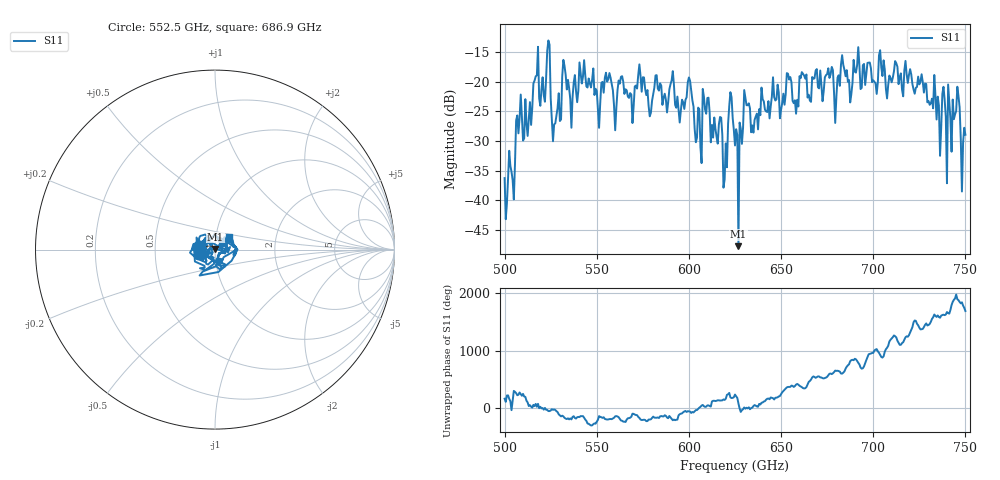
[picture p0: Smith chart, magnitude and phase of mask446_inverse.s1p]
!Created with skrf (http://scikit-rf.org).
# GHz S MA R 50.0
!freq magS11 angS11
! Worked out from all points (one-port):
!   401 points, 500 GHz to 750 GHz, reference 50 ohm
!   lowest |S11| = -47.7 dB at 626.9 GHz (marker M1), VSWR 1.01, Z = 50.1 + j0.402 ohm
!   |S11| at or under -10 dB: start of sweep to end of sweep
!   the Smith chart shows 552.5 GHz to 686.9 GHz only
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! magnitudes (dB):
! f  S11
! 500 GHz  -36.3
! 504.4 GHz  -36.6
! 507.5 GHz  -28.7
! 513.8 GHz  -23.4
! 516.9 GHz  -19.1
! 520.6 GHz  -19.2
! 523.8 GHz  -13.0
! 526.9 GHz  -27.2
! 531.2 GHz  -19.1
! 562.5 GHz  -20.3
! 579.4 GHz  -25.2
! 590.6 GHz  -19.8
! 593.8 GHz  -22.5
! 600.6 GHz  -19.8
! 605.6 GHz  -24.6
! 608.8 GHz  -24.7
! 619.4 GHz  -36.5
! 622.5 GHz  -21.7
! 625 GHz  -30.7
! 626.9 GHz  -47.7
! 631.2 GHz  -24.0
! 635 GHz  -28.6
! 656.2 GHz  -23.2
! 687.5 GHz  -23.5
! 690.6 GHz  -18.4
! 718.8 GHz  -20.2
! 745.6 GHz  -20.8
! 750 GHz  -28.9
